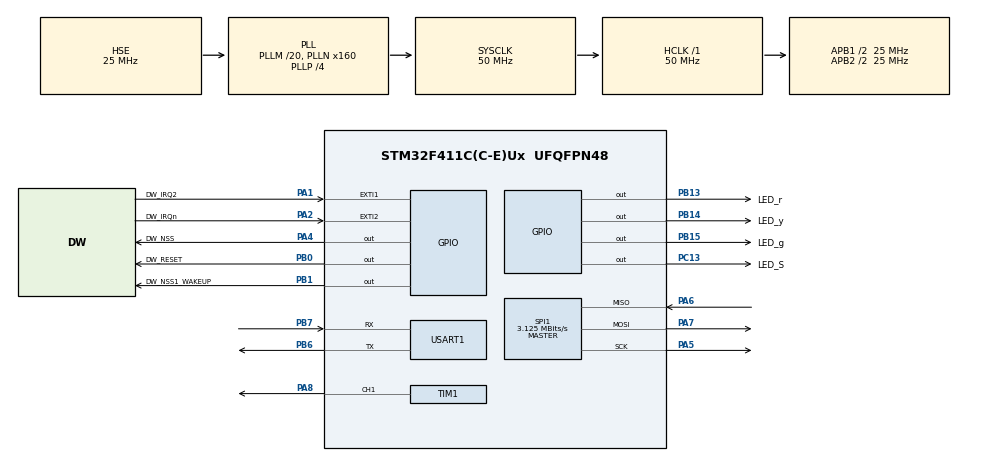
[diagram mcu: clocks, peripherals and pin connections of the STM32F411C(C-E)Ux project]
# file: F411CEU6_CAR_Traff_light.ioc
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Mcu.Family=STM32F4
Mcu.Name=STM32F411C(C-E)Ux
Mcu.Package=UFQFPN48
Mcu.UserConstants=LWIP_TIMEVAL_PRIVATE,0
NVIC.PriorityGroup=NVIC_PRIORITYGROUP_4
NVIC.TIM1_CC_IRQn=true\:5\:0\:true\:false\:true\:true\:true\:true
NVIC.TIM2_IRQn=true\:0\:0\:false\:false\:true\:true\:true\:true
PA1.GPIO_Label=DW_IRQ2
PA1.Signal=GPXTI1
PA13.Mode=Serial_Wire
PA13.Signal=SYS_JTMS-SWDIO
PA14.Mode=Serial_Wire
PA14.Signal=SYS_JTCK-SWCLK
PA2.GPIO_Label=DW_IRQn
PA2.Signal=GPXTI2
PA4.GPIO_Label=DW_NSS
PA4.Signal=GPIO_Output
PA5.Mode=Full_Duplex_Master
PA5.Signal=SPI1_SCK
PA6.Mode=Full_Duplex_Master
PA6.Signal=SPI1_MISO
PA7.Mode=Full_Duplex_Master
PA7.Signal=SPI1_MOSI
PA8.Signal=S_TIM1_CH1
PB0.GPIO_Label=DW_RESET
PB0.Signal=GPIO_Output
PB1.GPIO_Label=DW_NSS1_WAKEUP
PB1.Signal=GPIO_Output
PB13.GPIO_Label=LED_r
PB13.GPIO_PuPd=GPIO_PULLUP
PB13.PinState=GPIO_PIN_SET
PB13.Signal=GPIO_Output
PB14.GPIO_Label=LED_y
PB14.GPIO_PuPd=GPIO_PULLUP
PB14.PinState=GPIO_PIN_SET
PB14.Signal=GPIO_Output
PB15.GPIO_Label=LED_g
PB15.GPIO_PuPd=GPIO_PULLUP
PB15.PinState=GPIO_PIN_SET
PB15.Signal=GPIO_Output
PB6.Mode=Asynchronous
PB6.Signal=USART1_TX
PB7.Mode=Asynchronous
PB7.Signal=USART1_RX
PC13-ANTI_TAMP.GPIO_Label=LED_S
PC13-ANTI_TAMP.Signal=GPIO_Output
PC14-OSC32_IN.Mode=LSE-External-Oscillator
PC14-OSC32_IN.Signal=RCC_OSC32_IN
PC15-OSC32_OUT.Mode=LSE-External-Oscillator
PC15-OSC32_OUT.Signal=RCC_OSC32_OUT
PH0\ -\ OSC_IN.Mode=HSE-External-Oscillator
PH0\ -\ OSC_IN.Signal=RCC_OSC_IN
PH1\ -\ OSC_OUT.Mode=HSE-External-Oscillator
PH1\ -\ OSC_OUT.Signal=RCC_OSC_OUT
ProjectManager.HeapSize=0x200
ProjectManager.StackSize=0x400
ProjectManager.TargetToolchain=STM32CubeIDE
RCC.48MHZClocksFreq_Value=50000000
RCC.AHBFreq_Value=50000000
RCC.APB1CLKDivider=RCC_HCLK_DIV2
RCC.APB1Freq_Value=25000000
RCC.APB1TimFreq_Value=50000000
RCC.APB2CLKDivider=RCC_HCLK_DIV2
RCC.APB2Freq_Value=25000000
RCC.APB2TimFreq_Value=50000000
RCC.CortexFreq_Value=50000000
RCC.HCLKFreq_Value=50000000
RCC.HSE_VALUE=25000000
RCC.HSI_VALUE=16000000
RCC.PLLM=20
RCC.PLLN=160
RCC.PLLP=RCC_PLLP_DIV4
RCC.PLLSourceVirtual=RCC_PLLSOURCE_HSE
RCC.SYSCLKFreq_VALUE=50000000
RCC.SYSCLKSource=RCC_SYSCLKSOURCE_PLLCLK
RCC.VCOOutputFreq_Value=200000000
SH.S_TIM1_CH1.0=TIM1_CH1,Output Compare1 CH1
SPI1.BaudRatePrescaler=SPI_BAUDRATEPRESCALER_8
SPI1.CalculateBaudRate=3.125 MBits/s
SPI1.Direction=SPI_DIRECTION_2LINES
SPI1.Mode=SPI_MODE_MASTER
SPI1.VirtualType=VM_MASTER
TIM1.Channel-Output\ Compare1\ CH1=TIM_CHANNEL_1
TIM1.ClockDivision=TIM_CLOCKDIVISION_DIV2
TIM2.Period=5000-1
TIM2.Prescaler=9000
USART1.VirtualMode=VM_ASYNC
VP_TIM1_VS_ClockSourceINT.Mode=Internal
VP_TIM1_VS_ClockSourceITR.Mode=TriggerSource_ITR0
VP_TIM1_VS_ControllerModeTrigger.Mode=Trigger Mode
VP_TIM2_VS_ClockSourceINT.Mode=Internal
board=custom

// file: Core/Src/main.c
/* USER CODE BEGIN Header */
/**
  ******************************************************************************
  * @file           : main.c
  * @brief          : Main program body
  ******************************************************************************
  * @attention
  *
  * Copyright (c) 2023 STMicroelectronics.
  * All rights reserved.
  *
  * This software is licensed under terms that can be found in the LICENSE file
  * in the root directory of this software component.
  * If no LICENSE file comes with this software, it is provided AS-IS.
  *
  ******************************************************************************
  */
/* USER CODE END Header */
#include "main.h"

/* USER CODE BEGIN Includes */
//#include "examples_defines.h"
#include <port.h>
#include <stm32f4xx_hal.h>
#include <Pdoa_tx.c>
#include <TWR_uwb.c>
#include <stdio.h>
/* USER CODE END Includes */

SPI_HandleTypeDef hspi1;

TIM_HandleTypeDef htim1;
TIM_HandleTypeDef htim2;

UART_HandleTypeDef huart1;

/* USER CODE BEGIN PV */
SPI_HandleTypeDef   *hcurrent_active_spi=&hspi1;
uint16_t            pin_io_active_spi=DW_NSS_Pin;
GPIO_PinState       SPI_CS_state=GPIO_PIN_RESET;
host_using_spi_e    host_spi = SPI_1;
/* USER CODE END PV */

void SystemClock_Config(void);
static void MX_GPIO_Init(void);
static void MX_SPI1_Init(void);
static void MX_USART1_UART_Init(void);
static void MX_TIM1_Init(void);
static void MX_TIM2_Init(void);
/* USER CODE BEGIN PFP */
#define UNIT_TEST 0

/* USER CODE END PFP */

/* USER CODE BEGIN 0 */
//extern example_ptr example_pointer;
//extern int unit_test_main(void);

unsigned char T_light = 0;
unsigned char T_light_cnt = 0;

void test_run_info(unsigned char *data) // UART print code will be added.
{

	//HAL_GPIO_WritePin(LED_S_GPIO_Port,LED_S_Pin, GPIO_PIN_RESET);
	uint16_t data_length;

	data_length = strlen((const char *)data);
	HAL_UART_Transmit(&huart1, data, data_length, 1000);

	//HAL_GPIO_WritePin(LED_S_GPIO_Port,LED_S_Pin, GPIO_PIN_SET);
}

void HAL_TIM_PeriodElapsedCallback(TIM_HandleTypeDef *htim){
  if(htim->Instance == TIM2){
	 switch (T_light) {
		case 0: //red
			tx_msg[8] = (unsigned char)(5 - T_light_cnt + 0x31);
			if (T_light_cnt > 5){
				T_light_cnt = 0;
				T_light = 2; //to green
				tx_msg[9] = 'G';

				HAL_GPIO_WritePin(GPIOB, GPIO_PIN_15, GPIO_PIN_SET);
				HAL_GPIO_WritePin(GPIOB, GPIO_PIN_13, GPIO_PIN_RESET);
			}
			else{
				T_light_cnt++;
			}
			break;
		case 1: //yellow
			tx_msg[8] = '0';
			if (T_light_cnt > 3){
				T_light_cnt = 0;
				T_light = 0; //to red
				tx_msg[9] = 'R';

				HAL_GPIO_WritePin(GPIOB, GPIO_PIN_14, GPIO_PIN_SET);
				HAL_GPIO_WritePin(GPIOB, GPIO_PIN_15, GPIO_PIN_RESET);
			}
			else{
				T_light_cnt++;
			}
			break;

		case 2: //green
			tx_msg[8] = '0';
			if (T_light_cnt > 8){
				T_light_cnt = 0;
				T_light = 1; //to yellow
				tx_msg[9] = 'Y';

				HAL_GPIO_WritePin(GPIOB, GPIO_PIN_13, GPIO_PIN_SET);
				HAL_GPIO_WritePin(GPIOB, GPIO_PIN_14, GPIO_PIN_RESET);
			}
			else{
				T_light_cnt++;
			}
			break;
		default:
			break;
	}
    HAL_TIM_Base_Start_IT(&htim2);
  }
}

/* USER CODE END 0 */

int main(void){

  /* MCU Configuration--------------------------------------------------------*/

  /* Reset of all peripherals, Initializes the Flash interface and the Systick. */
  HAL_Init();

  /* Configure the system clock */
  SystemClock_Config();

  /* Initialize all configured peripherals */
  MX_GPIO_Init();
  MX_SPI1_Init();
  MX_USART1_UART_Init();
  MX_TIM1_Init();
  MX_TIM2_Init();
  /* USER CODE BEGIN 2 */
  HAL_TIM_Base_Start_IT(&htim2);
  /* USER CODE BEGIN 2 */
  port_DisableEXT_IRQ();
  setup_DWICRSTnIRQ(0);

  HAL_GPIO_WritePin(GPIOB, GPIO_PIN_13 | GPIO_PIN_14 | GPIO_PIN_15, GPIO_PIN_SET);
  HAL_GPIO_WritePin(GPIOB, GPIO_PIN_15, GPIO_PIN_RESET);

  /* USER CODE END 2 */

  /* Infinite loop */
  /* USER CODE BEGIN WHILE */
  while (1){

	  //ss_twr_responder_uwb();
	  Pdoa_uwb_tx();

    /* USER CODE END WHILE */

  }
}

void SystemClock_Config(void)
{
  RCC_OscInitTypeDef RCC_OscInitStruct = {0};
  RCC_ClkInitTypeDef RCC_ClkInitStruct = {0};

  /** Configure the main internal regulator output voltage
  */
  __HAL_RCC_PWR_CLK_ENABLE();
  __HAL_PWR_VOLTAGESCALING_CONFIG(PWR_REGULATOR_VOLTAGE_SCALE1);

  /** Initializes the RCC Oscillators according to the specified parameters
  * in the RCC_OscInitTypeDef structure.
  */
  RCC_OscInitStruct.OscillatorType = RCC_OSCILLATORTYPE_HSE;
  RCC_OscInitStruct.HSEState = RCC_HSE_ON;
  RCC_OscInitStruct.PLL.PLLState = RCC_PLL_ON;
  RCC_OscInitStruct.PLL.PLLSource = RCC_PLLSOURCE_HSE;
  RCC_OscInitStruct.PLL.PLLM = 20;
  RCC_OscInitStruct.PLL.PLLN = 160;
  RCC_OscInitStruct.PLL.PLLP = RCC_PLLP_DIV4;
  RCC_OscInitStruct.PLL.PLLQ = 4;
  if (HAL_RCC_OscConfig(&RCC_OscInitStruct) != HAL_OK)
  {
    Error_Handler();
  }

  /** Initializes the CPU, AHB and APB buses clocks
  */
  RCC_ClkInitStruct.ClockType = RCC_CLOCKTYPE_HCLK|RCC_CLOCKTYPE_SYSCLK
                              |RCC_CLOCKTYPE_PCLK1|RCC_CLOCKTYPE_PCLK2;
  RCC_ClkInitStruct.SYSCLKSource = RCC_SYSCLKSOURCE_PLLCLK;
  RCC_ClkInitStruct.AHBCLKDivider = RCC_SYSCLK_DIV1;
  RCC_ClkInitStruct.APB1CLKDivider = RCC_HCLK_DIV2;
  RCC_ClkInitStruct.APB2CLKDivider = RCC_HCLK_DIV2;

  if (HAL_RCC_ClockConfig(&RCC_ClkInitStruct, FLASH_LATENCY_1) != HAL_OK)
  {
    Error_Handler();
  }
}

static void MX_SPI1_Init(void)
{

  /* SPI1 parameter configuration*/
  hspi1.Instance = SPI1;
  hspi1.Init.Mode = SPI_MODE_MASTER;
  hspi1.Init.Direction = SPI_DIRECTION_2LINES;
  hspi1.Init.DataSize = SPI_DATASIZE_8BIT;
  hspi1.Init.CLKPolarity = SPI_POLARITY_LOW;
  hspi1.Init.CLKPhase = SPI_PHASE_1EDGE;
  hspi1.Init.NSS = SPI_NSS_SOFT;
  hspi1.Init.BaudRatePrescaler = SPI_BAUDRATEPRESCALER_8;
  hspi1.Init.FirstBit = SPI_FIRSTBIT_MSB;
  hspi1.Init.TIMode = SPI_TIMODE_DISABLE;
  hspi1.Init.CRCCalculation = SPI_CRCCALCULATION_DISABLE;
  hspi1.Init.CRCPolynomial = 10;
  if (HAL_SPI_Init(&hspi1) != HAL_OK)
  {
    Error_Handler();
  }

}

static void MX_TIM1_Init(void){

  TIM_ClockConfigTypeDef sClockSourceConfig = {0};
  TIM_SlaveConfigTypeDef sSlaveConfig = {0};
  TIM_MasterConfigTypeDef sMasterConfig = {0};
  TIM_OC_InitTypeDef sConfigOC = {0};
  TIM_BreakDeadTimeConfigTypeDef sBreakDeadTimeConfig = {0};

  htim1.Instance = TIM1;
  htim1.Init.Prescaler = 0;
  htim1.Init.CounterMode = TIM_COUNTERMODE_UP;
  htim1.Init.Period = 65535;
  htim1.Init.ClockDivision = TIM_CLOCKDIVISION_DIV2;
  htim1.Init.RepetitionCounter = 0;
  htim1.Init.AutoReloadPreload = TIM_AUTORELOAD_PRELOAD_DISABLE;
  if (HAL_TIM_Base_Init(&htim1) != HAL_OK)
  {
    Error_Handler();
  }
  sClockSourceConfig.ClockSource = TIM_CLOCKSOURCE_INTERNAL;
  if (HAL_TIM_ConfigClockSource(&htim1, &sClockSourceConfig) != HAL_OK)
  {
    Error_Handler();
  }
  if (HAL_TIM_OC_Init(&htim1) != HAL_OK)
  {
    Error_Handler();
  }
  sSlaveConfig.SlaveMode = TIM_SLAVEMODE_TRIGGER;
  sSlaveConfig.InputTrigger = TIM_TS_ITR0;
  if (HAL_TIM_SlaveConfigSynchro(&htim1, &sSlaveConfig) != HAL_OK)
  {
    Error_Handler();
  }
  sMasterConfig.MasterOutputTrigger = TIM_TRGO_RESET;
  sMasterConfig.MasterSlaveMode = TIM_MASTERSLAVEMODE_DISABLE;
  if (HAL_TIMEx_MasterConfigSynchronization(&htim1, &sMasterConfig) != HAL_OK)
  {
    Error_Handler();
  }
  sConfigOC.OCMode = TIM_OCMODE_TIMING;
  sConfigOC.Pulse = 0;
  sConfigOC.OCPolarity = TIM_OCPOLARITY_HIGH;
  sConfigOC.OCNPolarity = TIM_OCNPOLARITY_HIGH;
  sConfigOC.OCFastMode = TIM_OCFAST_DISABLE;
  sConfigOC.OCIdleState = TIM_OCIDLESTATE_RESET;
  sConfigOC.OCNIdleState = TIM_OCNIDLESTATE_RESET;
  if (HAL_TIM_OC_ConfigChannel(&htim1, &sConfigOC, TIM_CHANNEL_1) != HAL_OK)
  {
    Error_Handler();
  }
  sBreakDeadTimeConfig.OffStateRunMode = TIM_OSSR_DISABLE;
  sBreakDeadTimeConfig.OffStateIDLEMode = TIM_OSSI_DISABLE;
  sBreakDeadTimeConfig.LockLevel = TIM_LOCKLEVEL_OFF;
  sBreakDeadTimeConfig.DeadTime = 0;
  sBreakDeadTimeConfig.BreakState = TIM_BREAK_DISABLE;
  sBreakDeadTimeConfig.BreakPolarity = TIM_BREAKPOLARITY_HIGH;
  sBreakDeadTimeConfig.AutomaticOutput = TIM_AUTOMATICOUTPUT_DISABLE;
  if (HAL_TIMEx_ConfigBreakDeadTime(&htim1, &sBreakDeadTimeConfig) != HAL_OK)
  {
    Error_Handler();
  }
  HAL_TIM_MspPostInit(&htim1);

}

static void MX_TIM2_Init(void)
{

  TIM_ClockConfigTypeDef sClockSourceConfig = {0};
  TIM_MasterConfigTypeDef sMasterConfig = {0};

  htim2.Instance = TIM2;
  htim2.Init.Prescaler = 9000;
  htim2.Init.CounterMode = TIM_COUNTERMODE_UP;
  htim2.Init.Period = 5000-1;
  htim2.Init.ClockDivision = TIM_CLOCKDIVISION_DIV1;
  htim2.Init.AutoReloadPreload = TIM_AUTORELOAD_PRELOAD_DISABLE;
  if (HAL_TIM_Base_Init(&htim2) != HAL_OK)
  {
    Error_Handler();
  }
  sClockSourceConfig.ClockSource = TIM_CLOCKSOURCE_INTERNAL;
  if (HAL_TIM_ConfigClockSource(&htim2, &sClockSourceConfig) != HAL_OK)
  {
    Error_Handler();
  }
  sMasterConfig.MasterOutputTrigger = TIM_TRGO_RESET;
  sMasterConfig.MasterSlaveMode = TIM_MASTERSLAVEMODE_DISABLE;
  if (HAL_TIMEx_MasterConfigSynchronization(&htim2, &sMasterConfig) != HAL_OK)
  {
    Error_Handler();
  }

}

static void MX_USART1_UART_Init(void)
{

  huart1.Instance = USART1;
  huart1.Init.BaudRate = 115200;
  huart1.Init.WordLength = UART_WORDLENGTH_8B;
  huart1.Init.StopBits = UART_STOPBITS_1;
  huart1.Init.Parity = UART_PARITY_NONE;
  huart1.Init.Mode = UART_MODE_TX_RX;
  huart1.Init.HwFlowCtl = UART_HWCONTROL_NONE;
  huart1.Init.OverSampling = UART_OVERSAMPLING_16;
  if (HAL_UART_Init(&huart1) != HAL_OK)
  {
    Error_Handler();
  }

}

static void MX_GPIO_Init(void)
{
  GPIO_InitTypeDef GPIO_InitStruct = {0};

  /* GPIO Ports Clock Enable */
  __HAL_RCC_GPIOC_CLK_ENABLE();
  __HAL_RCC_GPIOH_CLK_ENABLE();
  __HAL_RCC_GPIOA_CLK_ENABLE();
  __HAL_RCC_GPIOB_CLK_ENABLE();

  /*Configure GPIO pin Output Level */
  HAL_GPIO_WritePin(LED_S_GPIO_Port, LED_S_Pin, GPIO_PIN_RESET);

  /*Configure GPIO pin Output Level */
  HAL_GPIO_WritePin(DW_NSS_GPIO_Port, DW_NSS_Pin, GPIO_PIN_RESET);

  /*Configure GPIO pin Output Level */
  HAL_GPIO_WritePin(GPIOB, DW_RESET_Pin|DW_NSS1_WAKEUP_Pin, GPIO_PIN_RESET);

  /*Configure GPIO pin Output Level */
  HAL_GPIO_WritePin(GPIOB, LED_r_Pin|LED_y_Pin|LED_g_Pin, GPIO_PIN_SET);

  /*Configure GPIO pin : LED_S_Pin */
  GPIO_InitStruct.Pin = LED_S_Pin;
  GPIO_InitStruct.Mode = GPIO_MODE_OUTPUT_PP;
  GPIO_InitStruct.Pull = GPIO_NOPULL;
  GPIO_InitStruct.Speed = GPIO_SPEED_FREQ_LOW;
  HAL_GPIO_Init(LED_S_GPIO_Port, &GPIO_InitStruct);

  /*Configure GPIO pins : DW_IRQ2_Pin DW_IRQn_Pin */
  GPIO_InitStruct.Pin = DW_IRQ2_Pin|DW_IRQn_Pin;
  GPIO_InitStruct.Mode = GPIO_MODE_IT_RISING;
  GPIO_InitStruct.Pull = GPIO_NOPULL;
  HAL_GPIO_Init(GPIOA, &GPIO_InitStruct);

  /*Configure GPIO pin : DW_NSS_Pin */
  GPIO_InitStruct.Pin = DW_NSS_Pin;
  GPIO_InitStruct.Mode = GPIO_MODE_OUTPUT_PP;
  GPIO_InitStruct.Pull = GPIO_NOPULL;
  GPIO_InitStruct.Speed = GPIO_SPEED_FREQ_LOW;
  HAL_GPIO_Init(DW_NSS_GPIO_Port, &GPIO_InitStruct);

  /*Configure GPIO pins : DW_RESET_Pin DW_NSS1_WAKEUP_Pin */
  GPIO_InitStruct.Pin = DW_RESET_Pin|DW_NSS1_WAKEUP_Pin;
  GPIO_InitStruct.Mode = GPIO_MODE_OUTPUT_PP;
  GPIO_InitStruct.Pull = GPIO_NOPULL;
  GPIO_InitStruct.Speed = GPIO_SPEED_FREQ_LOW;
  HAL_GPIO_Init(GPIOB, &GPIO_InitStruct);

  /*Configure GPIO pins : LED_r_Pin LED_y_Pin LED_g_Pin */
  GPIO_InitStruct.Pin = LED_r_Pin|LED_y_Pin|LED_g_Pin;
  GPIO_InitStruct.Mode = GPIO_MODE_OUTPUT_PP;
  GPIO_InitStruct.Pull = GPIO_PULLUP;
  GPIO_InitStruct.Speed = GPIO_SPEED_FREQ_LOW;
  HAL_GPIO_Init(GPIOB, &GPIO_InitStruct);

}

void Error_Handler(void)
{
  __disable_irq();
  while (1)
  {
  }
}
